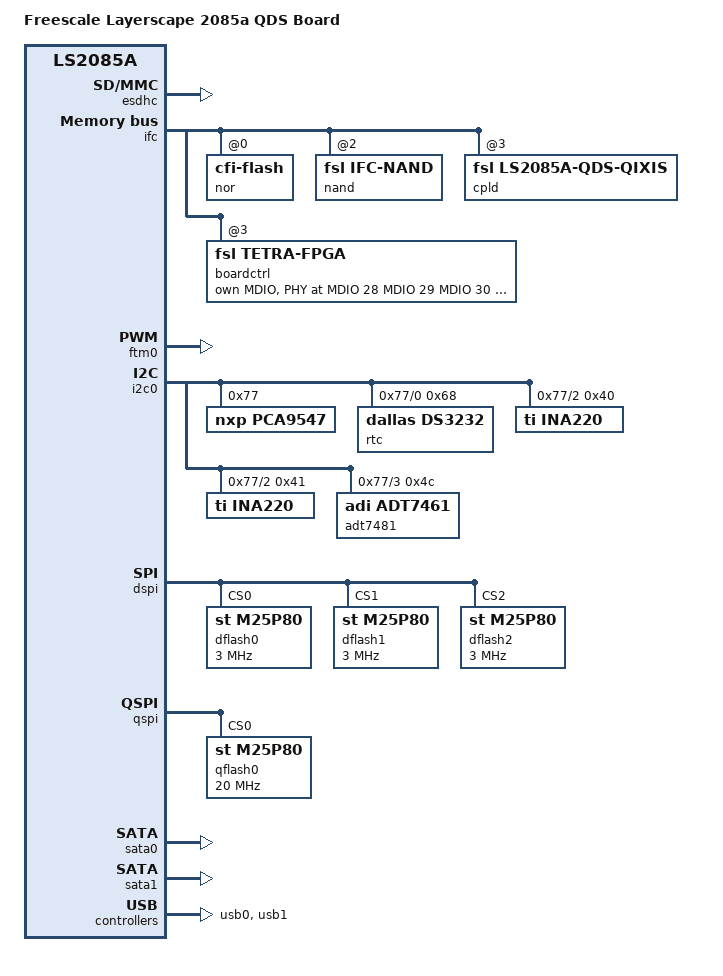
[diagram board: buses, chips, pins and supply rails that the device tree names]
/*
 * Device Tree file for Freescale LS2085a QDS Board
 *
 * Copyright (C) 2015, Freescale Semiconductor
 *
 * Bhupesh Sharma <bhupesh.sharma@freescale.com>
 *
 * This file is licensed under the terms of the GNU General Public
 * License version 2.  This program is licensed "as is" without any
 * warranty of any kind, whether express or implied.
 */

/dts-v1/;

/include/ "fsl-ls2085a.dtsi"

/ {
	model = "Freescale Layerscape 2085a QDS Board";
	compatible = "fsl,ls2085a-qds", "fsl,ls2085a";
};

&esdhc {
	status = "okay";
};

&ifc {
	status = "okay";
	#address-cells = <2>;
	#size-cells = <1>;
	ranges = <0x0 0x0 0x5 0x80000000 0x08000000
		  0x2 0x0 0x5 0x30000000 0x00010000
		  0x3 0x0 0x5 0x20000000 0x00010000>;

	nor@0,0 {
	     #address-cells = <1>;
	     #size-cells = <1>;
	     compatible = "cfi-flash";
	     reg = <0x0 0x0 0x8000000>;
	     bank-width = <2>;
	     device-width = <1>;
	};

	nand@2,0 {
	     compatible = "fsl,ifc-nand";
	     reg = <0x2 0x0 0x10000>;
	};

	cpld@3,0 {
	     reg = <0x3 0x0 0x10000>;
	     compatible = "fsl,ls2085a-qds-qixis", "fsl,fpga-qixis";
	};
};

&ftm0 {
	status = "okay";
};

&i2c0 {
	status = "okay";
	pca9547@77 {
		compatible = "nxp,pca9547";
		reg = <0x77>;
		#address-cells = <1>;
		#size-cells = <0>;
		i2c@0 {
			#address-cells = <1>;
			#size-cells = <0>;
			reg = <0x00>;
			rtc@68 {
				compatible = "dallas,ds3232";
				reg = <0x68>;
			};
		};

		i2c@2 {
			#address-cells = <1>;
			#size-cells = <0>;
			reg = <0x02>;

			ina220@40 {
				compatible = "ti,ina220";
				reg = <0x40>;
				shunt-resistor = <500>;
			};
			ina220@41 {
				compatible = "ti,ina220";
				reg = <0x41>;
				shunt-resistor = <1000>;
			};
		};

		i2c@3 {
			#address-cells = <1>;
			#size-cells = <0>;
			reg = <0x3>;

			adt7481@4c {
				compatible = "adi,adt7461";
				reg = <0x4c>;
			};
		};
	};
};

&i2c1 {
	status = "disabled";
};

&i2c2 {
	status = "disabled";
};

&i2c3 {
	status = "disabled";
};

&dspi {
	status = "okay";
	dflash0: n25q128a {
		#address-cells = <1>;
		#size-cells = <1>;
		compatible = "st,m25p80";
		spi-max-frequency = <3000000>;
		reg = <0>;
	};
	dflash1: sst25wf040b {
		#address-cells = <1>;
		#size-cells = <1>;
		compatible = "st,m25p80";
		spi-max-frequency = <3000000>;
		reg = <1>;
	};
	dflash2: en25s64 {
		#address-cells = <1>;
		#size-cells = <1>;
		compatible = "st,m25p80";
		spi-max-frequency = <3000000>;
		reg = <2>;
	};
};

&qspi {
	status = "okay";
	qflash0: s25fl008k {
		#address-cells = <1>;
		#size-cells = <1>;
		compatible = "st,m25p80";
		spi-max-frequency = <20000000>;
		reg = <0>;
	};
};

&sata0 {
	status = "okay";
};

&sata1 {
	status = "okay";
};

&usb0 {
	status = "okay";
};

&usb1 {
	status = "okay";
};

&ifc {
	boardctrl: board-control@3,0 {
		#address-cells = <1>;
		#size-cells = <1>;
		compatible = "fsl,tetra-fpga", "fsl,fpga-qixis", "simple-bus";
		reg = <3 0 0x300>;		/* TODO check address */
		ranges = <0 3 0 0x300>;

		mdio_mux_emi1 {
			compatible = "mdio-mux-mmioreg", "mdio-mux";
			mdio-parent-bus = <&emdio1>;
			reg = <0x54 1>;		/* BRDCFG4 */
			mux-mask = <0xe0>;	/* EMI1_MDIO */

			#address-cells=<1>;
			#size-cells = <0>;

			/* Child MDIO buses, one for each riser card:
			   reg = 0x0, 0x20, 0x40, 0x60, 0x80, 0xa0.

			   VSC8234 PHYs on the riser cards.
			 */

			/* Dirty HACK: making the phy _name_ unique, rather than
			   relying on the uniqueness of the (dtc-generated) phandle
			 */
			mdio_mux0: mdio@0 {
				reg = <0x0>;
				#address-cells = <1>;
				#size-cells = <0>;

				mdio0_phy0: mdio_phy0@1c {
					reg = <0x1c>;
					phy-connection-type = "sgmii";
				};
				mdio0_phy1: mdio_phy1@1d {
					reg = <0x1d>;
					phy-connection-type = "sgmii";
				};
				mdio0_phy2: mdio_phy2@1e {
					reg = <0x1e>;
					phy-connection-type = "sgmii";
				};
				mdio0_phy3: mdio_phy3@1f {
					reg = <0x1f>;
					phy-connection-type = "sgmii";
				};
			};
			mdio_mux1: mdio@20 {
				reg = <0x20>;
				#address-cells = <1>;
				#size-cells = <0>;

				mdio0_phy4: mdio_phy0@1c {
					reg = <0x1c>;
					phy-connection-type = "sgmii";
				};
				mdio0_phy5: mdio_phy1@1d {
					reg = <0x1d>;
					phy-connection-type = "sgmii";
				};
				mdio0_phy6: mdio_phy2@1e {
					reg = <0x1e>;
					phy-connection-type = "sgmii";
				};
				mdio0_phy7: mdio_phy3@1f {
					reg = <0x1f>;
					phy-connection-type = "sgmii";
				};
			};
			mdio_mux2: mdio@40 {
				reg = <0x40>;
				#address-cells = <1>;
				#size-cells = <0>;

				mdio0_phy8: mdio_phy0@1c {
					reg = <0x1c>;
					phy-connection-type = "sgmii";
				};
				mdio0_phy9: mdio_phy1@1d {
					reg = <0x1d>;
					phy-connection-type = "sgmii";
				};
				mdio0_phy10: mdio_phy2@1e {
					reg = <0x1e>;
					phy-connection-type = "sgmii";
				};
				mdio0_phy11: mdio_phy3@1f {
					reg = <0x1f>;
					phy-connection-type = "sgmii";
				};
			};
			mdio_mux3: mdio@60 {
				reg = <0x60>;
				#address-cells = <1>;
				#size-cells = <0>;

				mdio0_phy12: mdio_phy0@1c {
					reg = <0x1c>;
					phy-connection-type = "sgmii";
				};
				mdio0_phy13: mdio_phy1@1d {
					reg = <0x1d>;
					phy-connection-type = "sgmii";
				};
				mdio0_phy14: mdio_phy2@1e {
					reg = <0x1e>;
					phy-connection-type = "sgmii";
				};
				mdio0_phy15: mdio_phy3@1f {
					reg = <0x1f>;
					phy-connection-type = "sgmii";
				};
			};
			mdio_mux4: mdio@80 {
				reg = <0x80>;
				#address-cells = <1>;
				#size-cells = <0>;

				mdio0_phy16: mdio_phy0@1c {
					reg = <0x1c>;
					phy-connection-type = "sgmii";
				};
				mdio0_phy17: mdio_phy1@1d {
					reg = <0x1d>;
					phy-connection-type = "sgmii";
				};
				mdio0_phy18: mdio_phy2@1e {
					reg = <0x1e>;
					phy-connection-type = "sgmii";
				};
				mdio0_phy19: mdio_phy3@1f {
					reg = <0x1f>;
					phy-connection-type = "sgmii";
				};
			};
			mdio_mux5: mdio@a0 {
				reg = <0xa0>;
				#address-cells = <1>;
				#size-cells = <0>;

				mdio0_phy20: mdio_phy0@1c {
					reg = <0x1c>;
					phy-connection-type = "sgmii";
				};
				mdio0_phy21: mdio_phy1@1d {
					reg = <0x1d>;
					phy-connection-type = "sgmii";
				};
				mdio0_phy22: mdio_phy2@1e {
					reg = <0x1e>;
					phy-connection-type = "sgmii";
				};
				mdio0_phy23: mdio_phy3@1f {
					reg = <0x1f>;
					phy-connection-type = "sgmii";
				};
			};
		};
	};
};
